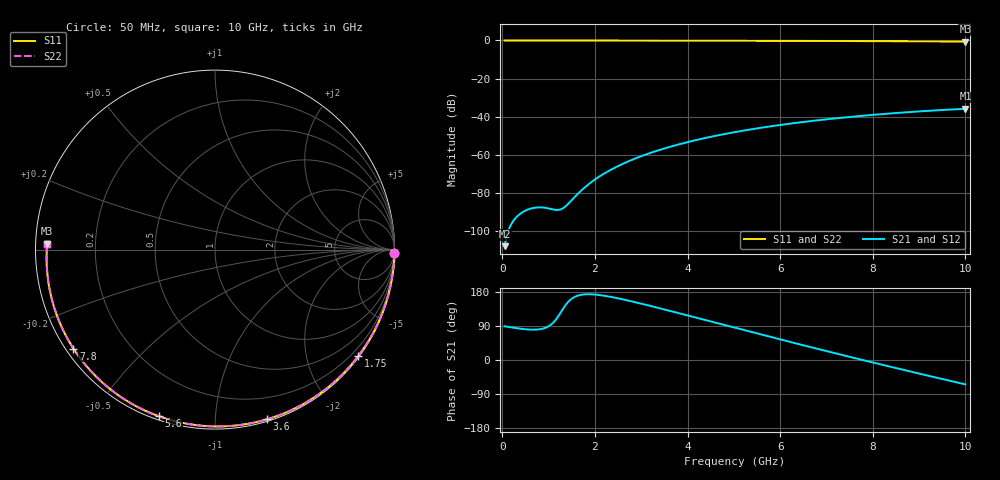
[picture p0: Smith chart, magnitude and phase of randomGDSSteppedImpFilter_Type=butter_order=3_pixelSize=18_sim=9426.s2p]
! freq	dB(S11)	phase(S11)	dB(S12)	phase(S12)
!  dB(S21)	phase(S21)	dB(S22)	phase(S22)
!S-par simulation data
#  GHz  S  DB  R 50
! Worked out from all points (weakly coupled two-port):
!   200 points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, 50 MHz to 10 GHz, reference 50 ohm
!   highest |S21| = -35.88 dB at 10 GHz (marker M1); lowest = -108.0 dB at 50 MHz (marker M2)
!   lowest |S11| = -0.6 dB at 10 GHz (marker M3), VSWR 30.03, Z = 1.67 + j0.884 ohm
!   |S11| at or under -10 dB: nowhere
!   |S22| runs from -0.6 to 0.0 dB; largest |S21 - S12| = 0
!   S11 on the Smith chart (normalised r, x): 50 MHz: open; 1.75 GHz: 0.03, -3.02; 3.6 GHz: 0.02, -1.35; 5.6 GHz: 0.02, -0.72; 7.8 GHz: 0.02, -0.32; 10 GHz: 0.03, +0.02
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0.05  -0.00 -1.1  -108.01 89.0  -108.01 89.0  -0.00 -1.1
0.4  -0.01 -8.5  -90.78 82.4  -90.78 82.4  -0.01 -8.5
0.8  -0.02 -17.0  -87.64 81.0  -87.64 81.0  -0.02 -17.0
1.2  -0.03 -25.4  -89.01 113.8  -89.01 113.8  -0.03 -25.4
1.65  -0.04 -34.6  -80.06 170.6  -80.06 170.6  -0.04 -34.6
1.75  -0.05 -36.7  -77.80 172.9  -77.80 172.9  -0.05 -36.7
1.9  -0.05 -39.7  -74.79 173.5  -74.79 173.5  -0.05 -39.7
2.05  -0.05 -42.8  -72.18 172.1  -72.18 172.1  -0.05 -42.8
2.25  -0.06 -46.8  -69.16 168.6  -69.16 168.6  -0.06 -46.8
2.45  -0.06 -50.8  -66.54 164.0  -66.54 164.0  -0.06 -50.8
2.9  -0.08 -59.6  -61.69 151.6  -61.69 151.6  -0.08 -59.6
3.4  -0.09 -69.2  -57.45 136.5  -57.45 136.5  -0.09 -69.2
3.6  -0.10 -72.9  -55.99 130.2  -55.99 130.2  -0.10 -72.9
4.3  -0.12 -85.8  -51.65 108.0  -51.65 108.0  -0.12 -85.8
5.05  -0.15 -99.1  -48.00 84.1  -48.00 84.1  -0.15 -99.1
5.6  -0.18 -108.6  -45.79 66.8  -45.79 66.8  -0.18 -108.6
6.15  -0.21 -117.9  -43.88 49.6  -43.88 49.6  -0.21 -117.9
6.7  -0.24 -127.0  -42.22 32.6  -42.22 32.6  -0.24 -127.0
7.8  -0.33 -145.0  -39.50 -0.6  -39.50 -0.6  -0.33 -145.0
8.35  -0.38 -154.0  -38.38 -16.9  -38.38 -16.9  -0.38 -154.0
9.2  -0.48 -168.2  -36.94 -41.6  -36.94 -41.6  -0.48 -168.2
10  -0.58 178.0  -35.88 -64.4  -35.88 -64.4  -0.58 178.0
